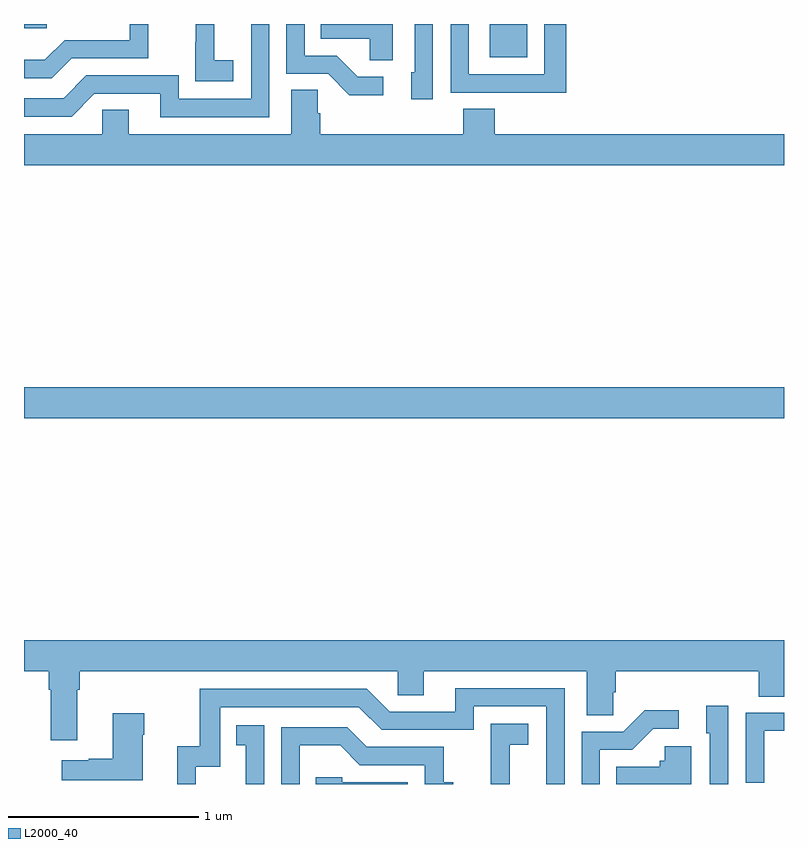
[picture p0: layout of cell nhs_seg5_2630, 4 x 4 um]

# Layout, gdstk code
import gdstk
lib = gdstk.Library(unit=1e-6, precision=1e-09)
def R(c, l, rs):  # rectangles x0, y0, x1, y1
    for r in rs: c.add(gdstk.rectangle(r[:2], r[2:], *l))
def P(c, l, *ps):  # polygons
    for p in ps: c.add(gdstk.Polygon(p, *l))
L2000_40 = (2000, 40)

nhs_seg5_2630 = lib.new_cell('nhs_seg5_2630')
R(nhs_seg5_2630, L2000_40, [(263,892.724,267,892.888), (265.451,894.623,265.648,894.799), (263,894.777,263.121,894.799)])
P(nhs_seg5_2630, L2000_40, [(264.291,894.799),(264.195,894.799),(264.195,894.405),(263.814,894.405),(263.814,894.528),(263.328,894.528),(263.208,894.408),(263,894.408),(263,894.312),(263.25,894.312),(263.37,894.432),(263.717,894.432),(263.717,894.309),(264.291,894.309)],
  [(264.94,894.799),(264.562,894.799),(264.562,894.722),(264.819,894.722),(264.819,894.607),(264.94,894.607)],
  [(265.853,894.799),(265.737,894.799),(265.737,894.534),(265.341,894.534),(265.341,894.799),(265.245,894.799),(265.245,894.438),(265.561,894.438),(265.561,894.437),(265.853,894.437)],
  [(264.892,894.522),(264.757,894.522),(264.646,894.633),(264.477,894.633),(264.477,894.799),(264.381,894.799),(264.381,894.537),(264.6,894.537),(264.713,894.425),(264.892,894.425)],
  [(264.1,894.607),(264.002,894.607),(264.002,894.799),(263.903,894.799),(263.903,894.703),(263.902,894.703),(263.902,894.497),(264.1,894.497)],
  [(263.251,894.618),(263.655,894.618),(263.655,894.799),(263.556,894.799),(263.556,894.714),(263.214,894.714),(263.11,894.61),(263,894.61),(263,894.513),(263.146,894.513)],
  [(265.152,894.799),(265.056,894.799),(265.056,894.546),(265.037,894.546),(265.037,894.402),(265.152,894.402)],
  [(267,894.22),(265.478,894.22),(265.478,894.353),(265.313,894.353),(265.313,894.22),(264.56,894.22),(264.56,894.329),(264.546,894.329),(264.546,894.452),(264.407,894.452),(264.407,894.22),(263.551,894.22),(263.551,894.347),(263.412,894.347),(263.412,894.22),(263,894.22),(263,894.056),(267,894.056)],
  [(263.281,891.296),(263.294,891.296),(263.294,891.392),(264.966,891.392),(264.966,891.265),(265.105,891.265),(265.105,891.392),(265.961,891.392),(265.961,891.16),(266.1,891.16),(266.1,891.283),(266.114,891.283),(266.114,891.392),(266.867,891.392),(266.867,891.259),(267,891.259),(267,891.556),(263,891.556),(263,891.392),(263.129,891.392),(263.129,891.296),(263.141,891.296),(263.141,891.03),(263.281,891.03)],
  [(263.904,890.889),(264.033,890.889),(264.033,891.204),(264.762,891.204),(264.882,891.084),(265.368,891.084),(265.368,891.207),(265.749,891.207),(265.749,890.799),(265.845,890.799),(265.845,891.303),(265.271,891.303),(265.271,891.18),(264.924,891.18),(264.804,891.3),(263.925,891.3),(263.925,890.998),(263.807,890.998),(263.807,890.799),(263.904,890.799)],
  [(266.706,891.211),(266.591,891.211),(266.591,891.066),(266.61,891.066),(266.61,890.799),(266.706,890.799)],
  [(266.031,890.979),(266.2,890.979),(266.311,891.09),(266.446,891.09),(266.446,891.188),(266.267,891.188),(266.154,891.075),(265.935,891.075),(265.935,890.799),(266.031,890.799)],
  [(266.895,891.078),(267,891.078),(267,891.174),(266.799,891.174),(266.799,890.805),(266.895,890.805)],
  [(263.626,891.059),(263.634,891.059),(263.634,891.172),(263.468,891.172),(263.468,890.933),(263.342,890.933),(263.342,890.923),(263.199,890.923),(263.199,890.819),(263.626,890.819)],
  [(265.556,891.005),(265.654,891.005),(265.654,891.115),(265.456,891.115),(265.456,890.909),(265.457,890.909),(265.457,890.799),(265.556,890.799)],
  [(264.264,891.109),(264.118,891.109),(264.118,891.003),(264.167,891.003),(264.167,890.799),(264.264,890.799)],
  [(264.45,891.002),(264.664,891.002),(264.768,890.898),(265.11,890.898),(265.11,890.799),(265.258,890.799),(265.258,890.809),(265.209,890.809),(265.209,890.994),(264.805,890.994),(264.7,891.099),(264.354,891.099),(264.354,890.799),(264.45,890.799)],
  [(266.512,890.998),(266.373,890.998),(266.373,890.922),(266.347,890.922),(266.347,890.89),(266.116,890.89),(266.116,890.799),(266.512,890.799)],
  [(265.02,890.808),(264.675,890.808),(264.675,890.835),(264.535,890.835),(264.535,890.799),(265.02,890.799)])

lib.write_gds('nhs_seg5_2630.gds')
